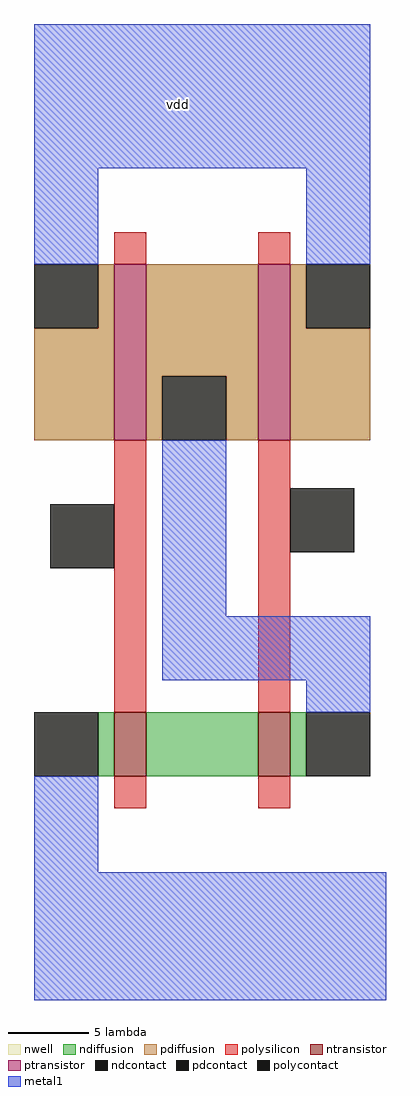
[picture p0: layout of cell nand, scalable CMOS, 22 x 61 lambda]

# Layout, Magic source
magic
tech scmos
<< nwell >>
rect -4 16 17 27
<< polysilicon >>
rect 1 27 3 29
rect 10 27 12 29
rect 1 -1 3 16
rect 10 -1 12 16
rect 1 -7 3 -5
rect 10 -7 12 -5
<< ndiffusion >>
rect 0 -5 1 -1
rect 3 -5 10 -1
rect 12 -5 13 -1
<< pdiffusion >>
rect 0 23 1 27
rect -4 16 1 23
rect 3 20 10 27
rect 3 16 4 20
rect 8 16 10 20
rect 12 23 13 27
rect 12 16 17 23
<< metal1 >>
rect -4 33 17 42
rect -4 27 0 33
rect 13 27 17 33
rect 4 5 8 16
rect 4 1 17 5
rect 13 -1 17 1
rect -4 -11 0 -5
rect -4 -19 18 -11
<< ntransistor >>
rect 1 -5 3 -1
rect 10 -5 12 -1
<< ptransistor >>
rect 1 16 3 27
rect 10 16 12 27
<< polycontact >>
rect -3 8 1 12
rect 12 9 16 13
<< ndcontact >>
rect -4 -5 0 -1
rect 13 -5 17 -1
<< pdcontact >>
rect -4 23 0 27
rect 4 16 8 20
rect 13 23 17 27
<< labels >>
rlabel metal1 5 37 5 37 5 vdd
<< end >>
